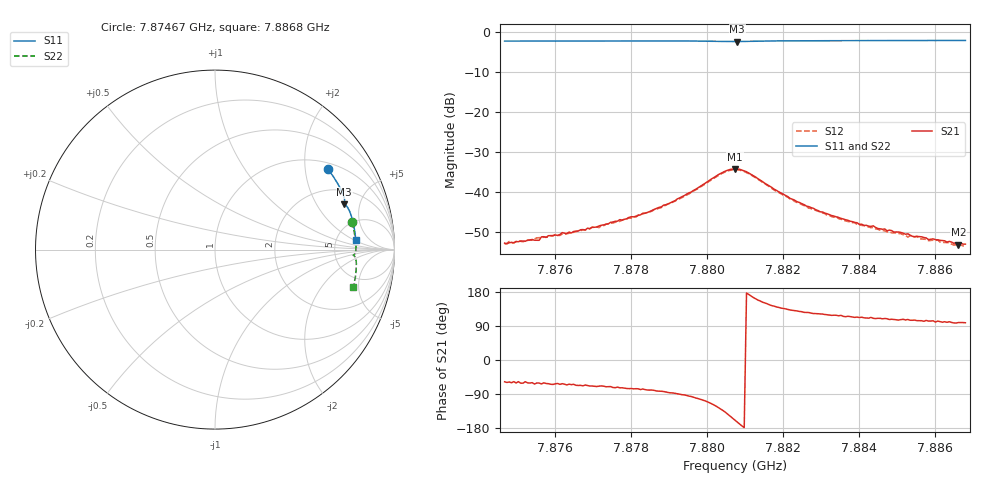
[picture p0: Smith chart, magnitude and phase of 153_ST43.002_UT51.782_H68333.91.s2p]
#  HZ  S  DB  R  50.00
! Rohde & Schwarz Vector Network Analyzer
! Rohde-Schwarz,ZNB20-2Port,1311601062101988,3.16
! Created: UTC 1/12/2023, 6:40:41 PM
! freq[Hz]  db:S11  ang:S11  db:S21  ang:S21  db:S12  ang:S12  db:S22  ang:S22
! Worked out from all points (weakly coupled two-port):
!   201 points, 7.87467 GHz to 7.8868 GHz, reference 50 ohm
!   highest |S21| = -34.17 dB at 7.88074 GHz (marker M1); lowest = -53.1 dB at 7.88662 GHz (marker M2)
!   lowest |S11| = -2.3 dB at 7.8808 GHz (marker M3), VSWR 7.44, Z = 148 + j178 ohm
!   |S11| at or under -10 dB: nowhere
!   |S22| runs from -2.3 to -1.9 dB; largest |S21 - S12| = 0.0012
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7.87467e9  -2.24 35.3  -52.68 -57.5  -52.91 -61.4  -2.19 11.3
7.87558e9  -2.23 32.8  -51.97 -60.9  -51.31 -63.5  -2.16 9.2
7.87564e9  -2.23 32.7  -51.10 -63.1  -51.40 -64.0  -2.16 8.9
7.876732e9  -2.21 29.7  -49.30 -68.2  -49.35 -70.2  -2.13 6.5
7.877157e9  -2.20 28.5  -48.39 -69.0  -48.80 -72.0  -2.12 5.5
7.878127e9  -2.19 25.9  -46.13 -75.8  -45.94 -78.7  -2.10 3.1
7.878734e9  -2.19 24.2  -43.75 -82.3  -43.96 -85.3  -2.10 1.7
7.879583e9  -2.21 21.7  -39.93 -96.3  -40.00 -99.7  -2.11 -0.4
7.880432e9  -2.32 19.6  -34.92 -134.2  -35.11 -137.5  -2.22 -2.2
7.880735e9  -2.35 19.3  -34.17 -158.9  -34.31 -162.2  -2.25 -2.3
7.880796e9  -2.35 19.3  -34.20 -163.9  -34.35 -167.2  -2.24 -2.4
7.88116e9  -2.29 18.8  -35.50 168.8  -35.69 164.9  -2.20 -2.6
7.882191e9  -2.16 16.0  -41.55 131.9  -41.70 128.6  -2.05 -4.9
7.882797e9  -2.14 14.4  -43.98 122.6  -44.27 120.1  -2.03 -6.4
7.88401e9  -2.12 11.1  -48.00 112.0  -48.15 109.7  -1.99 -9.1
7.884799e9  -2.11 9.0  -49.43 106.8  -49.88 106.0  -1.97 -10.9
7.885284e9  -2.10 7.7  -50.35 107.0  -51.17 102.7  -1.97 -11.9
7.885527e9  -2.10 7.1  -51.01 103.8  -51.00 101.1  -1.97 -12.4
7.88583e9  -2.10 6.3  -51.80 102.6  -52.08 100.0  -1.96 -13.1
7.886073e9  -2.09 5.7  -51.86 102.8  -51.89 98.5  -1.95 -13.7
7.886618e9  -2.09 4.2  -53.06 98.9  -52.97 96.9  -1.96 -14.8
7.8868e9  -2.09 3.8  -52.94 98.3  -53.44 93.9  -1.96 -15.2
